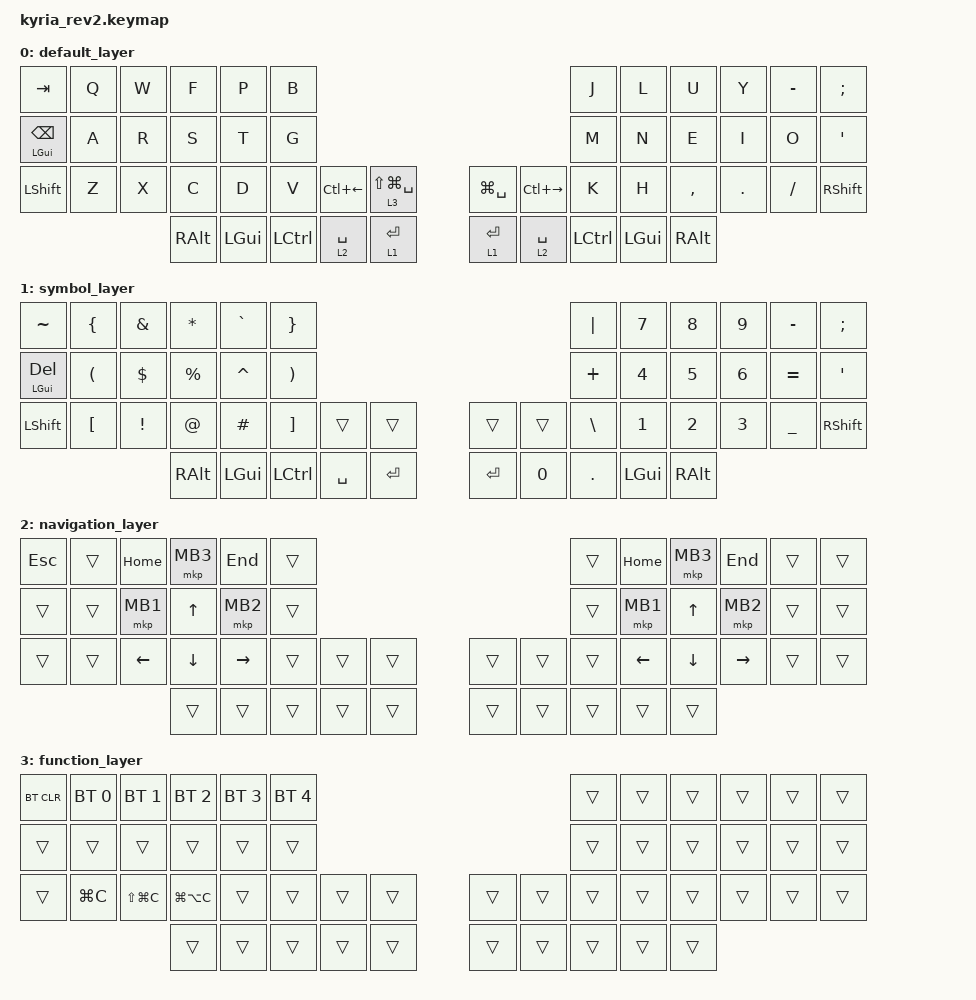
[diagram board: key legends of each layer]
/*
 * Copyright (c) 2020 The ZMK Contributors
 *
 * SPDX-License-Identifier: MIT
 */

#include <behaviors.dtsi>
#include <dt-bindings/zmk/bt.h>
#include <dt-bindings/zmk/keys.h>
#include <dt-bindings/zmk/mouse.h>

/ {
    behaviors {
        td0: tap_dance_0 {
            compatible = "zmk,behavior-tap-dance";
            #binding-cells = <0>;
            tapping-term-ms = <200>;
            bindings = <&kp TAB>, <&kp ESC>;
        };
    };

    keymap {
        compatible = "zmk,keymap";

        default_layer {
            // ---------------------------------------------------------------------------------------------------------------------------------
            // |  TAB  |  Q  |  W  |  F   |  P   |  B   |                                          |  J   |  L    |  U    |  Y   |   -   |   ;   |
            // | LG BS |  A  |  R  |  S   |  T   |  G   |                                          |  M   |  N    |  E    |  I   |   O   |   '   |
            // | SHIFT |  Z  |  X  |  C   |  D   |  V   |  SYMBOL |   FUN   |  |   NAV   |  SYMBOL |  K   |  H    |  ,    |  .   |   /   | SHIFT |
            //                     | ALT  | CTL  | GUI  |  SPACE  |   RET   |  |   RET   |  SPACE  | GUI  | CTL   | R-ALT |

            bindings = <
&kp TAB        &kp Q  &kp W  &kp F     &kp P     &kp B                                                                       &kp J      &kp L     &kp U      &kp Y    &kp MINUS  &kp SEMI
&mt LGUI BSPC  &kp A  &kp R  &kp S     &kp T     &kp G                                                                       &kp M      &kp N     &kp E      &kp I    &kp O      &kp APOS
&kp LSHFT      &kp Z  &kp X  &kp C     &kp D     &kp V      &kp LC(LEFT)  &lt 3 LS(LG(SPACE))  &kp LG(SPACE)  &kp LC(RIGHT)  &kp K      &kp H     &kp COMMA  &kp DOT  &kp FSLH   &kp RSHFT
                             &kp RALT  &kp LGUI  &kp LCTRL  &lt 2 SPACE   &lt 1 RET            &lt 1 RET      &lt 2 SPACE    &kp LCTRL  &kp LGUI  &kp RALT
            >;
        };

        symbol_layer {
            // ---------------------------------------------------------------------------------------------------------------------------------
            // |  ~    |  &  |  {  |  *   |  }   |  `   |                                          |  |   |  7    |  8    |  9   |   -   |   ;   |
            // |  LGUI  |  $  |  (  |  %   |  )   |  ^   |                                          |  +   |  4    |  5    |  6   |   =   |   '   |
            // | SHIFT |  !  |  [  |  @   |  ]   |  #   |  SYMBOL |   NAV   |  |   FUN   |  SYMBOL |  \   |  1    |  2    |  3   |   _   | SHIFT |
            //                     | ALT  | LCTRL  | GUI  |  SPACE  |   RET   |  |   RET   |  0      |  .   |  CTL  | R-ALT |

            bindings = <
&kp TILDE     &kp LEFT_BRACE        &kp AMPS    &kp STAR   &kp GRAVE  &kp RIGHT_BRACE                                             &kp PIPE  &kp N7    &kp N8    &kp N9  &kp MINUS  &kp SEMI
&mt LGUI DEL  &kp LEFT_PARENTHESIS  &kp DOLLAR  &kp PRCNT  &kp CARET  &kp RIGHT_PARENTHESIS                                       &kp PLUS  &kp N4    &kp N5    &kp N6  &kp EQUAL  &kp APOS
&kp LSHFT     &kp LEFT_BRACKET      &kp EXCL    &kp AT     &kp POUND  &kp RIGHT_BRACKET      &trans     &trans   &trans   &trans  &kp BSLH  &kp N1    &kp N2    &kp N3  &kp UNDER  &kp RSHFT
                                                &kp RALT   &kp LGUI   &kp LCTRL              &kp SPACE  &kp RET  &kp RET  &kp N0  &kp DOT   &kp LGUI  &kp RALT
            >;
        };

        navigation_layer {
            // ---------------------------------------------------------------------------------------------------------------------------------
            // |       |      |      |      |      |      |                                         |      |      |      |      |      |      |
            // |       |      |      |      |      |      |                                         |      |      |      |      |      |      |
            // |       |      |      |      |      |      |      |      |      |      |      |      |      |      |      |      |      |      |
            //                       |      |      |      |      |      |      |      |      |      |      |      |      |

            bindings = <
&kp ESCAPE  &trans  &kp HOME  &mkp MB3  &kp END    &trans                                  &trans  &kp HOME  &mkp MB3  &kp END    &trans  &trans
&trans      &trans  &mkp MB1  &kp UP    &mkp MB2   &trans                                  &trans  &mkp MB1  &kp UP    &mkp MB2   &trans  &trans
&trans      &trans  &kp LEFT  &kp DOWN  &kp RIGHT  &trans  &trans  &trans  &trans  &trans  &trans  &kp LEFT  &kp DOWN  &kp RIGHT  &trans  &trans
                              &trans    &trans     &trans  &trans  &trans  &trans  &trans  &trans  &trans    &trans
            >;
        };

        function_layer {
            // ---------------------------------------------------------------------------------------------------------------------------------
            // |       |      |BT_CLR|BTSEL0|BTSEL1|BTSEL2|                                         |      |      |      |      |      |      |
            // |       |      |      |BTSEL3|BTSEL4|      |                                         |      |      |      |      |      |      |
            // |       |      |      |      |      |      |      |      |      |      |      |      |      |      |      |      |      |      |
            //                       |      |      |      |      |      |      |      |      |      |      |      |      |

            bindings = <
&bt BT_CLR  &bt BT_SEL 0  &bt BT_SEL 1   &bt BT_SEL 2   &bt BT_SEL 3  &bt BT_SEL 4                                  &trans  &trans  &trans  &trans  &trans  &trans
&trans      &trans        &trans         &trans         &trans        &trans                                        &trans  &trans  &trans  &trans  &trans  &trans
&trans      &kp LG(C)     &kp LS(LG(C))  &kp LG(LA(C))  &trans        &trans        &trans  &trans  &trans  &trans  &trans  &trans  &trans  &trans  &trans  &trans
                                         &trans         &trans        &trans        &trans  &trans  &trans  &trans  &trans  &trans  &trans
            >;
        };
    };
};

&led_strip { chain-length = <10>; };
